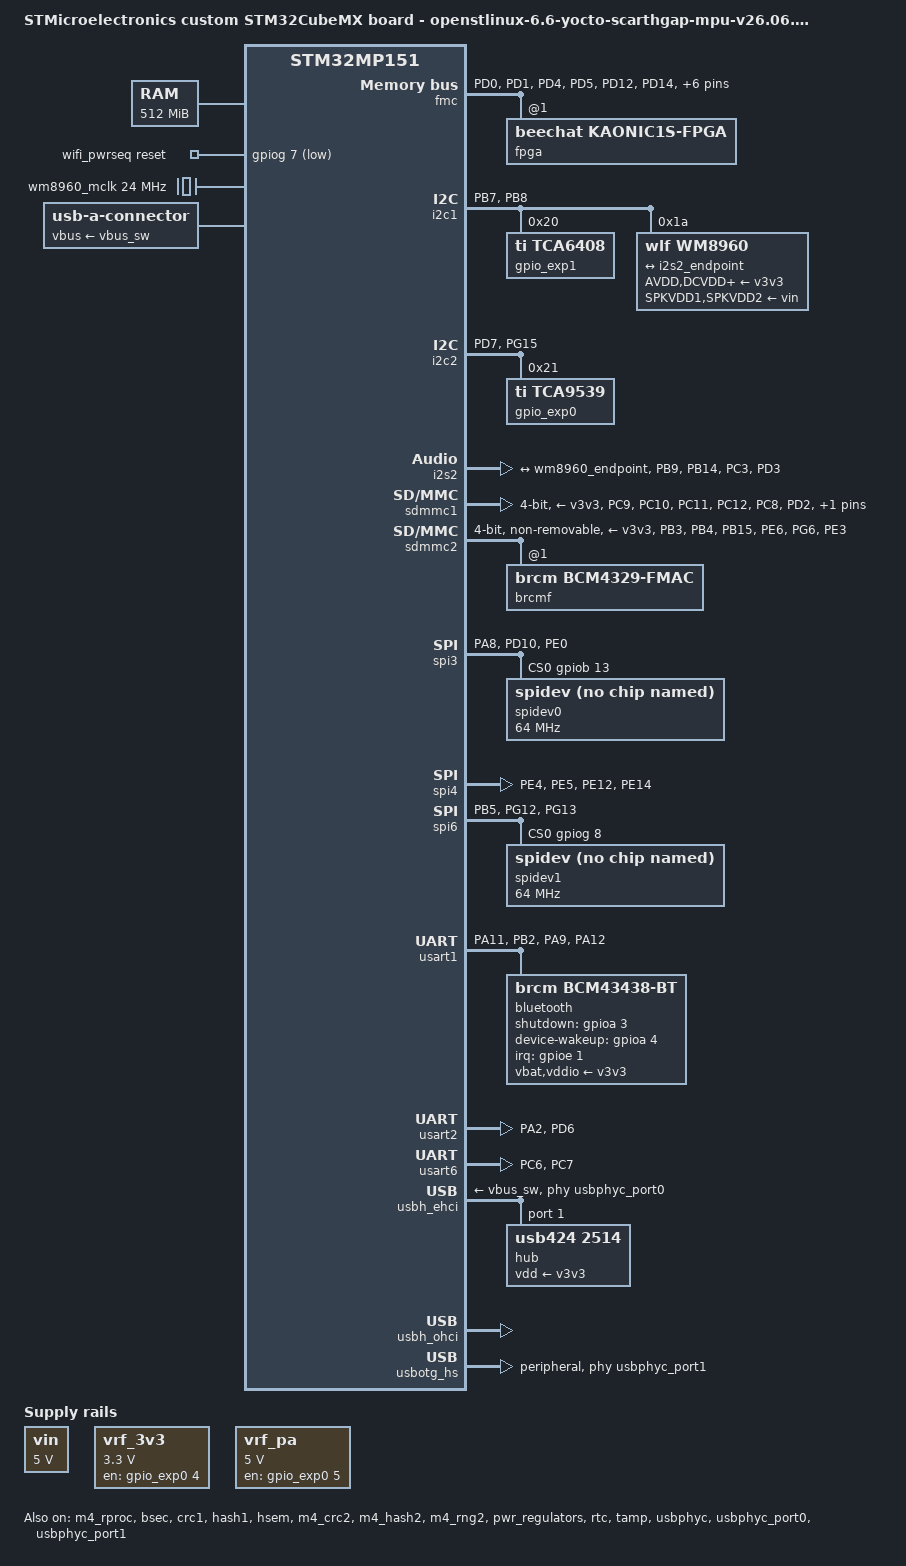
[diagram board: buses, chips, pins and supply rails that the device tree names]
// SPDX-License-Identifier: (GPL-2.0-only OR BSD-3-Clause)
/*
 * Copyright (C) 2026, STMicroelectronics - All Rights Reserved
 * Author: STM32CubeMX code generation for STMicroelectronics.
 */

/* For more information on Device Tree configuration, please refer to
 * https://wiki.st.com/stm32mpu/wiki/Category:Device_tree_configuration
 */

/dts-v1/;

#include <dt-bindings/pinctrl/stm32-pinfunc.h>
#include "stm32mp151.dtsi"
#include "stm32mp15xa.dtsi"
#include "stm32mp15xxab-pinctrl.dtsi"
#include "stm32mp15-m4-srm.dtsi"
#include "stm32mp15-scmi.dtsi"

/* USER CODE BEGIN includes */

#include <dt-bindings/gpio/gpio.h>
#include <dt-bindings/mfd/st,stpmic1.h>
#include <dt-bindings/input/input.h>
#include <dt-bindings/regulator/st,stm32mp15-regulator.h>

/* USER CODE END includes */

/ {
	model = "STMicroelectronics custom STM32CubeMX board - openstlinux-6.6-yocto-scarthgap-mpu-v26.06.10";
	compatible = "st,stm32mp151a-kaonic1s-r24-mx", "st,stm32mp151";

	memory@c0000000 {
		device_type = "memory";
		reg = <0xc0000000 0x20000000>;

		/* USER CODE BEGIN memory */
		/* USER CODE END memory */
	};

	reserved-memory {
		#address-cells = <1>;
		#size-cells = <1>;
		ranges;

		/* USER CODE BEGIN reserved-memory */
		mcuram2:mcuram2@10000000{
			compatible = "shared-dma-pool";
			reg = <0x10000000 0x40000>;
			no-map;
		};

		mcuram:mcuram@30000000{
			compatible = "shared-dma-pool";
			reg = <0x30000000 0x40000>;
			no-map;
		};

		retram:retram@38000000{
			compatible = "shared-dma-pool";
			reg = <0x38000000 0x10000>;
			no-map; };

		optee@de000000 {
			reg = <0xde000000 0x2000000>;
			no-map;
		};

		gpu_reserved: gpu@d4000000 {
			reg = <0xd4000000 0x4000000>;
			no-map;
		};

		linux,cma {
			compatible = "shared-dma-pool";
			reusable;
			size = <0x8000000>;
			alignment = <0x2000>;
			linux,cma-default;
		};


		/* USER CODE END reserved-memory */
	};

	/* USER CODE BEGIN root */

	aliases {
		serial0 = &usart6;
		serial1 = &usart2;
		serial2 = &usart1;
		spi4 = &spi4;
		spi6 = &spi6;
		spi3 = &spi3;
		spi0 = &qspi;
	};

	chosen {
		stdout-path = "serial0:115200n8";
		#address-cells = <1>;
		#size-cells = <1>;
		ranges;
	};

	vin: vin {
		compatible = "regulator-fixed";
		regulator-name = "vin";
		regulator-min-microvolt = <5000000>;
		regulator-max-microvolt = <5000000>;
		regulator-always-on;
	};

	vrf_3v3: vrf-3v3 {
		compatible = "regulator-fixed";
		regulator-name = "VRF 3v3";
		regulator-min-microvolt = <3300000>;
		regulator-max-microvolt = <3300000>;
		regulator-always-on;
		regulator-boot-on;
		gpio = <&gpio_exp0 4 GPIO_ACTIVE_HIGH>;
		enable-active-high;
	};

	vrf_pa: vrf-pa {
		compatible = "regulator-fixed";
		regulator-name = "VRF PA";
		regulator-min-microvolt = <5000000>;
		regulator-max-microvolt = <5000000>;
		regulator-always-on;
		regulator-boot-on;
		gpio = <&gpio_exp0 5 GPIO_ACTIVE_HIGH>;
		enable-active-high;
	};

	wifi_pwrseq: wifi-pwrseq {
		compatible = "mmc-pwrseq-simple";
		reset-gpios = <&gpiog 7 GPIO_ACTIVE_LOW>;
	};

	usb_phy_tuning: usb-phy-tuning {
		st,hs-dc-level = <2>;
		st,fs-rftime-tuning;
		st,hs-rftime-reduction;
		st,hs-current-trim = <15>;
		st,hs-impedance-trim = <1>;
		st,squelch-level = <3>;
		st,hs-rx-offset = <2>;
		st,no-lsfs-sc;
	};

	wm8960_mclk: wm8960-mclk {
		compatible = "fixed-clock";
		#clock-cells = <0>;
		clock-frequency = <24000000>;
	};

	sound {

		compatible = "simple-audio-card";
		simple-audio-card,name = "Kaonic WM8960 Audio";
		simple-audio-card,format = "i2s";
		simple-audio-card,bitclock-master = <&cpu_dai>;
		simple-audio-card,frame-master = <&cpu_dai>;
		status = "okay";

		simple-audio-card,widgets =
			"Microphone", "Mic Jack",
			"Speaker", "Ext Spk";
		simple-audio-card,routing =
			"Mic Jack", "MICB",
			"LINPUT2", "Mic Jack",
			"Ext Spk", "SPK_LP",
			"Ext Spk", "SPK_LN";
		cpu_dai: simple-audio-card,cpu {
			sound-dai = <&i2s2>;
		};
		codec_dai: simple-audio-card,codec {
			sound-dai = <&wm8960>;
			system-clock-frequency = <24000000>;
		};

	};

	/* USER CODE END root */

	clocks{

		/* USER CODE BEGIN clocks */
		/* USER CODE END clocks */
	};

}; /*root*/

&pinctrl {

	fmc_pins_mx: fmc_mx-0 {
		pins1 {
			pinmux = <STM32_PINMUX('D', 0, AF12)>, /* FMC_DA2 */
					 <STM32_PINMUX('D', 1, AF12)>, /* FMC_DA3 */
					 <STM32_PINMUX('D', 4, AF12)>, /* FMC_NOE */
					 <STM32_PINMUX('D', 5, AF12)>, /* FMC_NWE */
					 <STM32_PINMUX('D', 14, AF12)>, /* FMC_DA0 */
					 <STM32_PINMUX('D', 15, AF12)>, /* FMC_DA1 */
					 <STM32_PINMUX('E', 7, AF12)>, /* FMC_DA4 */
					 <STM32_PINMUX('E', 8, AF12)>, /* FMC_DA5 */
					 <STM32_PINMUX('E', 9, AF12)>, /* FMC_DA6 */
					 <STM32_PINMUX('E', 10, AF12)>; /* FMC_DA7 */
			bias-disable;
			drive-push-pull;
			slew-rate = <1>;
		};
		pins2 {
			pinmux = <STM32_PINMUX('G', 9, AF12)>; /* FMC_NE2 */
		};
	};

	fmc_sleep_pins_mx: fmc_sleep_mx-0 {
		pins {
			pinmux = <STM32_PINMUX('D', 0, ANALOG)>, /* FMC_DA2 */
					 <STM32_PINMUX('D', 1, ANALOG)>, /* FMC_DA3 */
					 <STM32_PINMUX('D', 4, ANALOG)>, /* FMC_NOE */
					 <STM32_PINMUX('D', 5, ANALOG)>, /* FMC_NWE */
					 <STM32_PINMUX('D', 14, ANALOG)>, /* FMC_DA0 */
					 <STM32_PINMUX('D', 15, ANALOG)>, /* FMC_DA1 */
					 <STM32_PINMUX('E', 7, ANALOG)>, /* FMC_DA4 */
					 <STM32_PINMUX('E', 8, ANALOG)>, /* FMC_DA5 */
					 <STM32_PINMUX('E', 9, ANALOG)>, /* FMC_DA6 */
					 <STM32_PINMUX('E', 10, ANALOG)>, /* FMC_DA7 */
					 <STM32_PINMUX('G', 9, ANALOG)>; /* FMC_NE2 */
		};
	};

	i2c1_pins_mx: i2c1_mx-0 {
		pins {
			pinmux = <STM32_PINMUX('B', 7, AF4)>, /* I2C1_SDA */
					 <STM32_PINMUX('B', 8, AF4)>; /* I2C1_SCL */
			bias-disable;
			drive-open-drain;
			slew-rate = <0>;
		};
	};

	i2c1_sleep_pins_mx: i2c1_sleep_mx-0 {
		pins {
			pinmux = <STM32_PINMUX('B', 7, ANALOG)>, /* I2C1_SDA */
					 <STM32_PINMUX('B', 8, ANALOG)>; /* I2C1_SCL */
		};
	};

	i2c2_pins_mx: i2c2_mx-0 {
		pins {
			pinmux = <STM32_PINMUX('D', 7, AF4)>, /* I2C2_SCL */
					 <STM32_PINMUX('G', 15, AF4)>; /* I2C2_SDA */
			bias-disable;
			drive-open-drain;
			slew-rate = <0>;
		};
	};

	i2c2_sleep_pins_mx: i2c2_sleep_mx-0 {
		pins {
			pinmux = <STM32_PINMUX('D', 7, ANALOG)>, /* I2C2_SCL */
					 <STM32_PINMUX('G', 15, ANALOG)>; /* I2C2_SDA */
		};
	};

	i2s2_pins_mx: i2s2_mx-0 {
		pins {
			pinmux = <STM32_PINMUX('B', 9, AF5)>, /* I2S2_WS */
					 <STM32_PINMUX('B', 14, AF5)>, /* I2S2_SDI */
					 <STM32_PINMUX('C', 3, AF5)>, /* I2S2_SDO */
					 <STM32_PINMUX('D', 3, AF5)>; /* I2S2_CK */
			bias-disable;
			drive-push-pull;
			slew-rate = <1>;
		};
	};

	i2s2_sleep_pins_mx: i2s2_sleep_mx-0 {
		pins {
			pinmux = <STM32_PINMUX('B', 9, ANALOG)>, /* I2S2_WS */
					 <STM32_PINMUX('B', 14, ANALOG)>, /* I2S2_SDI */
					 <STM32_PINMUX('C', 3, ANALOG)>, /* I2S2_SDO */
					 <STM32_PINMUX('D', 3, ANALOG)>; /* I2S2_CK */
		};
	};

	sdmmc1_pins_mx: sdmmc1_mx-0 {
		pins1 {
			pinmux = <STM32_PINMUX('C', 9, AF12)>, /* SDMMC1_D1 */
					 <STM32_PINMUX('C', 10, AF12)>, /* SDMMC1_D2 */
					 <STM32_PINMUX('C', 11, AF12)>; /* SDMMC1_D3 */
			bias-disable;
			drive-push-pull;
			slew-rate = <1>;
		};
		pins2 {
			pinmux = <STM32_PINMUX('C', 12, AF12)>; /* SDMMC1_CK */
			bias-pull-up;
			drive-push-pull;
			slew-rate = <3>;
		};
		pins3 {
			pinmux = <STM32_PINMUX('C', 8, AF12)>, /* SDMMC1_D0 */
					 <STM32_PINMUX('D', 2, AF12)>; /* SDMMC1_CMD */
			bias-pull-up;
			drive-push-pull;
			slew-rate = <1>;
		};
	};

	sdmmc1_opendrain_pins_mx: sdmmc1_opendrain_mx-0 {
		pins1 {
			pinmux = <STM32_PINMUX('C', 9, AF12)>, /* SDMMC1_D1 */
					 <STM32_PINMUX('C', 10, AF12)>, /* SDMMC1_D2 */
					 <STM32_PINMUX('C', 11, AF12)>; /* SDMMC1_D3 */
			bias-disable;
			drive-push-pull;
			slew-rate = <1>;
		};
		pins2 {
			pinmux = <STM32_PINMUX('C', 12, AF12)>; /* SDMMC1_CK */
			bias-pull-up;
			drive-push-pull;
			slew-rate = <3>;
		};
		pins3 {
			pinmux = <STM32_PINMUX('C', 8, AF12)>; /* SDMMC1_D0 */
			bias-pull-up;
			drive-push-pull;
			slew-rate = <1>;
		};
		pins4 {
			pinmux = <STM32_PINMUX('D', 2, AF12)>; /* SDMMC1_CMD */
			bias-pull-up;
			drive-open-drain;
			slew-rate = <1>;
		};
	};

	sdmmc1_sleep_pins_mx: sdmmc1_sleep_mx-0 {
		pins {
			pinmux = <STM32_PINMUX('C', 8, ANALOG)>, /* SDMMC1_D0 */
					 <STM32_PINMUX('C', 9, ANALOG)>, /* SDMMC1_D1 */
					 <STM32_PINMUX('C', 10, ANALOG)>, /* SDMMC1_D2 */
					 <STM32_PINMUX('C', 11, ANALOG)>, /* SDMMC1_D3 */
					 <STM32_PINMUX('C', 12, ANALOG)>, /* SDMMC1_CK */
					 <STM32_PINMUX('D', 2, ANALOG)>; /* SDMMC1_CMD */
		};
	};

	sdmmc2_pins_mx: sdmmc2_mx-0 {
		pins1 {
			pinmux = <STM32_PINMUX('B', 3, AF9)>, /* SDMMC2_D2 */
					 <STM32_PINMUX('B', 4, AF9)>, /* SDMMC2_D3 */
					 <STM32_PINMUX('B', 15, AF9)>, /* SDMMC2_D1 */
					 <STM32_PINMUX('E', 6, AF7)>, /* SDMMC2_D0 */
					 <STM32_PINMUX('G', 6, AF10)>; /* SDMMC2_CMD */
			bias-pull-up;
			drive-push-pull;
			slew-rate = <1>;
		};
		pins2 {
			pinmux = <STM32_PINMUX('E', 3, AF9)>; /* SDMMC2_CK */
			bias-disable;
			drive-push-pull;
			slew-rate = <3>;
		};
	};

	sdmmc2_opendrain_pins_mx: sdmmc2_opendrain_mx-0 {
		pins1 {
			pinmux = <STM32_PINMUX('B', 3, AF9)>, /* SDMMC2_D2 */
					 <STM32_PINMUX('B', 4, AF9)>, /* SDMMC2_D3 */
					 <STM32_PINMUX('B', 15, AF9)>, /* SDMMC2_D1 */
					 <STM32_PINMUX('E', 6, AF7)>; /* SDMMC2_D0 */
			bias-pull-up;
			drive-push-pull;
			slew-rate = <1>;
		};
		pins2 {
			pinmux = <STM32_PINMUX('E', 3, AF9)>; /* SDMMC2_CK */
			bias-disable;
			drive-push-pull;
			slew-rate = <3>;
		};
		pins3 {
			pinmux = <STM32_PINMUX('G', 6, AF10)>; /* SDMMC2_CMD */
			bias-pull-up;
			drive-open-drain;
			slew-rate = <1>;
		};
	};

	sdmmc2_sleep_pins_mx: sdmmc2_sleep_mx-0 {
		pins {
			pinmux = <STM32_PINMUX('B', 3, ANALOG)>, /* SDMMC2_D2 */
					 <STM32_PINMUX('B', 4, ANALOG)>, /* SDMMC2_D3 */
					 <STM32_PINMUX('B', 15, ANALOG)>, /* SDMMC2_D1 */
					 <STM32_PINMUX('E', 3, ANALOG)>, /* SDMMC2_CK */
					 <STM32_PINMUX('E', 6, ANALOG)>, /* SDMMC2_D0 */
					 <STM32_PINMUX('G', 6, ANALOG)>; /* SDMMC2_CMD */
		};
	};

	spi3_pins_mx: spi3_mx-0 {
		pins {
			pinmux = <STM32_PINMUX('A', 8, AF5)>, /* SPI3_MOSI */
					 <STM32_PINMUX('D', 10, AF5)>, /* SPI3_MISO */
					 <STM32_PINMUX('E', 0, AF5)>; /* SPI3_SCK */
			bias-disable;
			drive-push-pull;
			slew-rate = <3>;
		};
	};

	spi3_sleep_pins_mx: spi3_sleep_mx-0 {
		pins {
			pinmux = <STM32_PINMUX('A', 8, ANALOG)>, /* SPI3_MOSI */
					 <STM32_PINMUX('D', 10, ANALOG)>, /* SPI3_MISO */
					 <STM32_PINMUX('E', 0, ANALOG)>; /* SPI3_SCK */
		};
	};

	spi4_pins_mx: spi4_mx-0 {
		pins {
			pinmux = <STM32_PINMUX('E', 4, AF5)>, /* SPI4_NSS */
					 <STM32_PINMUX('E', 5, AF5)>, /* SPI4_MISO */
					 <STM32_PINMUX('E', 12, AF5)>, /* SPI4_SCK */
					 <STM32_PINMUX('E', 14, AF5)>; /* SPI4_MOSI */
			bias-disable;
			drive-push-pull;
			slew-rate = <3>;
		};
	};

	spi4_sleep_pins_mx: spi4_sleep_mx-0 {
		pins {
			pinmux = <STM32_PINMUX('E', 4, ANALOG)>, /* SPI4_NSS */
					 <STM32_PINMUX('E', 5, ANALOG)>, /* SPI4_MISO */
					 <STM32_PINMUX('E', 12, ANALOG)>, /* SPI4_SCK */
					 <STM32_PINMUX('E', 14, ANALOG)>; /* SPI4_MOSI */
		};
	};

	spi6_pins_mx: spi6_mx-0 {
		pins {
			pinmux = <STM32_PINMUX('B', 5, AF8)>, /* SPI6_MOSI */
					 <STM32_PINMUX('G', 12, AF5)>, /* SPI6_MISO */
					 <STM32_PINMUX('G', 13, AF5)>; /* SPI6_SCK */
			bias-disable;
			drive-push-pull;
			slew-rate = <3>;
		};
	};

	spi6_sleep_pins_mx: spi6_sleep_mx-0 {
		pins {
			pinmux = <STM32_PINMUX('B', 5, ANALOG)>, /* SPI6_MOSI */
					 <STM32_PINMUX('G', 12, ANALOG)>, /* SPI6_MISO */
					 <STM32_PINMUX('G', 13, ANALOG)>; /* SPI6_SCK */
		};
	};

	usart1_pins_mx: usart1_mx-0 {
		pins1 {
			pinmux = <STM32_PINMUX('A', 11, AF7)>, /* USART1_CTS */
					 <STM32_PINMUX('B', 2, AF4)>; /* USART1_RX */
			bias-disable;
		};
		pins2 {
			pinmux = <STM32_PINMUX('A', 9, AF7)>, /* USART1_TX */
					 <STM32_PINMUX('A', 12, AF7)>; /* USART1_RTS */
			bias-disable;
			drive-push-pull;
			slew-rate = <0>;
		};
	};

	usart1_idle_pins_mx: usart1_idle_mx-0 {
		pins1 {
			pinmux = <STM32_PINMUX('A', 9, ANALOG)>, /* USART1_TX */
					 <STM32_PINMUX('A', 11, ANALOG)>; /* USART1_CTS */
		};
		pins2 {
			pinmux = <STM32_PINMUX('A', 12, AF7)>; /* USART1_RTS */
			bias-disable;
			drive-push-pull;
			slew-rate = <0>;
		};
		pins3 {
			pinmux = <STM32_PINMUX('B', 2, AF4)>; /* USART1_RX */
			bias-disable;
		};
	};

	usart1_sleep_pins_mx: usart1_sleep_mx-0 {
		pins {
			pinmux = <STM32_PINMUX('A', 9, ANALOG)>, /* USART1_TX */
					 <STM32_PINMUX('A', 11, ANALOG)>, /* USART1_CTS */
					 <STM32_PINMUX('A', 12, ANALOG)>, /* USART1_RTS */
					 <STM32_PINMUX('B', 2, ANALOG)>; /* USART1_RX */
		};
	};

	usart2_pins_mx: usart2_mx-0 {
		pins1 {
			pinmux = <STM32_PINMUX('A', 2, AF7)>; /* USART2_TX */
			bias-disable;
			drive-push-pull;
			slew-rate = <0>;
		};
		pins2 {
			pinmux = <STM32_PINMUX('D', 6, AF7)>; /* USART2_RX */
			bias-disable;
		};
	};

	usart2_idle_pins_mx: usart2_idle_mx-0 {
		pins1 {
			pinmux = <STM32_PINMUX('A', 2, ANALOG)>; /* USART2_TX */
		};
		pins2 {
			pinmux = <STM32_PINMUX('D', 6, AF7)>; /* USART2_RX */
			bias-disable;
		};
	};

	usart2_sleep_pins_mx: usart2_sleep_mx-0 {
		pins {
			pinmux = <STM32_PINMUX('A', 2, ANALOG)>, /* USART2_TX */
					 <STM32_PINMUX('D', 6, ANALOG)>; /* USART2_RX */
		};
	};

	usart6_pins_mx: usart6_mx-0 {
		pins1 {
			pinmux = <STM32_PINMUX('C', 6, AF7)>; /* USART6_TX */
			bias-disable;
			drive-push-pull;
			slew-rate = <0>;
		};
		pins2 {
			pinmux = <STM32_PINMUX('C', 7, AF7)>; /* USART6_RX */
			bias-disable;
		};
	};

	usart6_idle_pins_mx: usart6_idle_mx-0 {
		pins1 {
			pinmux = <STM32_PINMUX('C', 6, ANALOG)>; /* USART6_TX */
		};
		pins2 {
			pinmux = <STM32_PINMUX('C', 7, AF7)>; /* USART6_RX */
			bias-disable;
		};
	};

	usart6_sleep_pins_mx: usart6_sleep_mx-0 {
		pins {
			pinmux = <STM32_PINMUX('C', 6, ANALOG)>, /* USART6_TX */
					 <STM32_PINMUX('C', 7, ANALOG)>; /* USART6_RX */
		};
	};

	/* USER CODE BEGIN pinctrl */

	fmc_fpga_pins_mx: fmc_fpga_mx-0 {
		pins1 {
			pinmux = <STM32_PINMUX('D', 0, AF12)>, /* FMC_D2 */
					 <STM32_PINMUX('D', 1, AF12)>, /* FMC_D3 */
					 <STM32_PINMUX('D', 4, AF12)>, /* FMC_NOE */
					 <STM32_PINMUX('D', 5, AF12)>, /* FMC_NWE */
					 <STM32_PINMUX('D', 12, AF12)>, /* FMC_A17 */
					 <STM32_PINMUX('D', 14, AF12)>, /* FMC_D0 */
					 <STM32_PINMUX('D', 15, AF12)>, /* FMC_D1 */
					 <STM32_PINMUX('E', 7, AF12)>, /* FMC_D4 */
					 <STM32_PINMUX('E', 8, AF12)>, /* FMC_D5 */
					 <STM32_PINMUX('E', 9, AF12)>, /* FMC_D6 */
					 <STM32_PINMUX('E', 10, AF12)>; /* FMC_D7 */
			bias-disable;
			drive-push-pull;
			slew-rate = <1>;
		};
		pins2 {
			pinmux = <STM32_PINMUX('G', 9, AF12)>; /* FMC_NE2 */
		};
	};

	fmc_fpga_sleep_pins_mx: fmc_fpga_sleep_mx-0 {
		pins {
			pinmux = <STM32_PINMUX('D', 0, ANALOG)>, /* FMC_D2 */
					 <STM32_PINMUX('D', 1, ANALOG)>, /* FMC_D3 */
					 <STM32_PINMUX('D', 4, ANALOG)>, /* FMC_NOE */
					 <STM32_PINMUX('D', 5, ANALOG)>, /* FMC_NWE */
					 <STM32_PINMUX('D', 12, ANALOG)>, /* FMC_A17 */
					 <STM32_PINMUX('D', 14, ANALOG)>, /* FMC_D0 */
					 <STM32_PINMUX('D', 15, ANALOG)>, /* FMC_D1 */
					 <STM32_PINMUX('E', 7, ANALOG)>, /* FMC_D4 */
					 <STM32_PINMUX('E', 8, ANALOG)>, /* FMC_D5 */
					 <STM32_PINMUX('E', 9, ANALOG)>, /* FMC_D6 */
					 <STM32_PINMUX('E', 10, ANALOG)>, /* FMC_D7 */
					 <STM32_PINMUX('G', 9, ANALOG)>; /* FMC_NE2 */
		};
	};

	i2c4_pins_mx: i2c4_mx-0 {
		pins {
			pinmux = <STM32_PINMUX('D', 13, AF4)>, /* I2C4_SDA */
					 <STM32_PINMUX('E', 2, AF4)>; /* I2C4_SCL */
			bias-disable;
			drive-open-drain;
			slew-rate = <0>;
		};
	};

	i2c4_sleep_pins_mx: i2c4_sleep_mx-0 {
		pins {
			pinmux = <STM32_PINMUX('D', 13, ANALOG)>, /* I2C4_SDA */
					 <STM32_PINMUX('E', 2, ANALOG)>; /* I2C4_SCL */
		};
	};
	/* USER CODE END pinctrl */
};

&pinctrl_z {

	/* USER CODE BEGIN pinctrl_z */
	/* USER CODE END pinctrl_z */
};

&m4_rproc{
	/*Restriction: "memory-region" property is not managed - please to use User-Section if needed*/
	mboxes = <&ipcc 2>;
	mbox-names = "shutdown";
	status = "okay";

	/* USER CODE BEGIN m4_rproc */
	/* USER CODE END m4_rproc */

	m4_system_resources{
		status = "okay";

		/* USER CODE BEGIN m4_system_resources */
		/* USER CODE END m4_system_resources */
	};
};

&bsec {
	status = "okay";

	/* USER CODE BEGIN bsec */

	/* USER CODE END bsec */
};

&crc1 {
	status = "okay";

	/* USER CODE BEGIN crc1 */
	/* USER CODE END crc1 */
};

&dma1 {
	status = "okay";

	/* USER CODE BEGIN dma1 */
	/* USER CODE END dma1 */
};

&dma2 {
	status = "okay";

	/* USER CODE BEGIN dma2 */
	/* USER CODE END dma2 */
};

&dmamux1 {
	status = "okay";

	dma-masters = <&dma1 &dma2>;
	dma-channels = <16>;

	/* USER CODE BEGIN dmamux1 */
	/* USER CODE END dmamux1 */
};

&fmc {
	pinctrl-names = "default", "sleep";
	pinctrl-0 = <&fmc_pins_mx>;
	pinctrl-1 = <&fmc_sleep_pins_mx>;
	status = "okay";

	/* USER CODE BEGIN fmc */
	/* Override the CubeMX pin groups: FMC_A17 (PD12) is required to reach
	 * the FPGA DATA port and is not part of fmc_pins_mx.
	 */
	pinctrl-0 = <&fmc_fpga_pins_mx>;
	pinctrl-1 = <&fmc_fpga_sleep_pins_mx>;

	#address-cells = <2>;
	#size-cells = <1>;

	fpga@1,0 {
		compatible = "beechat,kaonic1s-fpga";
		reg = <1 0x00000000 0x00040000>;
		bank-width = <1>;

		st,fmc2-ebi-cs-transaction-type = <1>; /* async mode 1, PSRAM */
		st,fmc2-ebi-cs-address-setup-ns = <30>;
		st,fmc2-ebi-cs-data-setup-ns = <40>;
		st,fmc2-ebi-cs-bus-turnaround-ns = <15>;
	};
	/* USER CODE END fmc */
};

&hash1 {
	status = "okay";

	/* USER CODE BEGIN hash1 */
	/* USER CODE END hash1 */
};

&hsem {
	status = "okay";

	/* USER CODE BEGIN hsem */
	/* USER CODE END hsem */
};

&i2c1 {
	pinctrl-names = "default", "sleep";
	pinctrl-0 = <&i2c1_pins_mx>;
	pinctrl-1 = <&i2c1_sleep_pins_mx>;
	status = "okay";

	/* USER CODE BEGIN i2c1 */
	gpio_exp1: gpio@20 {
		compatible = "ti,tca6408";
		reg = <0x20>;

		#gpio-cells = <2>;
		gpio-controller;
		status = "okay";
	};


	wm8960: codec@1a {
		compatible = "wlf,wm8960";
		reg = <0x1a>;
		#sound-dai-cells = <0>;
		clocks = <&wm8960_mclk>;
		clock-names = "mclk";
		/* ADCLRC/GPIO1 and DACLRC are tied together on the adapter */
		wlf,shared-lrclk;
		wlf,gpio-cfg = <1 0>;
		AVDD-supply = <&v3v3>;
		DCVDD-supply = <&v3v3>;
		DBVDD-supply = <&v3v3>;
		/* SPKVDD1/SPKVDD2 are fed from the +5V rail of the Kaonic connector */
		SPKVDD1-supply = <&vin>;
		SPKVDD2-supply = <&vin>;

		port {
			wm8960_endpoint: endpoint {
				remote-endpoint = <&i2s2_endpoint>;
			};
		};
	};
	/* USER CODE END i2c1 */
};

&i2c2 {
	pinctrl-names = "default", "sleep";
	pinctrl-0 = <&i2c2_pins_mx>;
	pinctrl-1 = <&i2c2_sleep_pins_mx>;
	status = "okay";

	/* USER CODE BEGIN i2c2 */

	gpio_exp0: gpio@21 {
		compatible = "ti,tca9539";
		reg = <0x21>;

		#gpio-cells = <2>;
		gpio-controller;
		status = "okay";
	};

	/* USER CODE END i2c2 */
};

&i2s2 {
	pinctrl-names = "default", "sleep";
	pinctrl-0 = <&i2s2_pins_mx>;
	pinctrl-1 = <&i2s2_sleep_pins_mx>;
	status = "okay";

	/* USER CODE BEGIN i2s2 */
	clocks = <&rcc SPI2>, <&rcc SPI2_K>, <&rcc PLL3_Q>, <&rcc PLL3_R>;
	clock-names = "pclk", "i2sclk", "x8k", "x11k";

	i2s2_port: port {
		i2s2_endpoint: endpoint {
			remote-endpoint = <&wm8960_endpoint>;
			format = "i2s";
			mclk-fs = <256>;
		};
	};

	/* USER CODE END i2s2 */
};

&ipcc {
	status = "okay";

	/* USER CODE BEGIN ipcc */
	/* USER CODE END ipcc */
};

&m4_crc2 {
	status = "okay";

	/* USER CODE BEGIN m4_crc2 */
	/* USER CODE END m4_crc2 */
};

&m4_hash2 {
	status = "okay";

	/* USER CODE BEGIN m4_hash2 */
	/* USER CODE END m4_hash2 */
};

&m4_rng2 {
	status = "okay";

	/* USER CODE BEGIN m4_rng2 */
	/* USER CODE END m4_rng2 */
};

&mdma1 {
	status = "okay";

	/* USER CODE BEGIN mdma1 */
	/* USER CODE END mdma1 */
};

&pwr_regulators {
	status = "okay";

	/* USER CODE BEGIN pwr_regulators */
	vdd-supply = <&vdd>;
	vdd_3v3_usbfs-supply = <&vdd_usb>;
	/* USER CODE END pwr_regulators */
};

&rcc {
	status = "okay";

	/* USER CODE BEGIN rcc */
	/* USER CODE END rcc */
};

&rtc {
	status = "okay";

	/* USER CODE BEGIN rtc */
	/* USER CODE END rtc */
};

&sdmmc1 {
	pinctrl-names = "default", "opendrain", "sleep";
	pinctrl-0 = <&sdmmc1_pins_mx>;
	pinctrl-1 = <&sdmmc1_opendrain_pins_mx>;
	pinctrl-2 = <&sdmmc1_sleep_pins_mx>;
	status = "okay";

	/* USER CODE BEGIN sdmmc1 */
	cd-gpios = <&gpiog 14 (GPIO_ACTIVE_LOW | GPIO_PULL_UP)>;

	disable-wp;
	st,neg-edge;
	bus-width = <4>;
	vmmc-supply = <&v3v3>;
	/* USER CODE END sdmmc1 */
};

&sdmmc2 {
	pinctrl-names = "default", "opendrain", "sleep";
	pinctrl-0 = <&sdmmc2_pins_mx>;
	pinctrl-1 = <&sdmmc2_opendrain_pins_mx>;
	pinctrl-2 = <&sdmmc2_sleep_pins_mx>;
	status = "okay";

	/* USER CODE BEGIN sdmmc2 */
	#address-cells = <1>;
	#size-cells = <0>;

	/* arm,primecell-periphid = <0x10153180>; */
	non-removable;
	st,neg-edge;
	cap-sdio-irq;
	bus-width = <4>;
	vmmc-supply = <&v3v3>;
	mmc-pwrseq = <&wifi_pwrseq>;

	brcmf: bcrmf@1 {
		reg = <1>;
		compatible = "brcm,bcm4329-fmac";
	};
	/* USER CODE END sdmmc2 */
};

&spi3 {
	pinctrl-names = "default", "sleep";
	pinctrl-0 = <&spi3_pins_mx>;
	pinctrl-1 = <&spi3_sleep_pins_mx>;
	status = "okay";

	/* USER CODE BEGIN spi3 */

	cs-gpios= <&gpiob 13 0>;

	spidev0: spidev0@0 {
		compatible = "rohm,dh2228fv";
        reg = <0>;
        spi-max-frequency = <64000000>;
        status = "okay";
    };
	/* USER CODE END spi3 */
};

&spi4 {
	pinctrl-names = "default", "sleep";
	pinctrl-0 = <&spi4_pins_mx>;
	pinctrl-1 = <&spi4_sleep_pins_mx>;
	status = "okay";

	/* USER CODE BEGIN spi4 */
	/* USER CODE END spi4 */
};

&spi6 {
	pinctrl-names = "default", "sleep";
	pinctrl-0 = <&spi6_pins_mx>;
	pinctrl-1 = <&spi6_sleep_pins_mx>;
	status = "okay";

	/* USER CODE BEGIN spi6 */
	cs-gpios= <&gpiog 8 0>;
	spidev1: spidev1@0 {
		compatible = "rohm,dh2228fv";
        reg = <0>;
        spi-max-frequency = <64000000>;
        status = "okay";
    };
	/* USER CODE END spi6 */
};

&tamp {
	status = "okay";

	/* USER CODE BEGIN tamp */
	/* USER CODE END tamp */
};

&usart1 {
	pinctrl-names = "default", "idle", "sleep";
	pinctrl-0 = <&usart1_pins_mx>;
	pinctrl-1 = <&usart1_idle_pins_mx>;
	pinctrl-2 = <&usart1_sleep_pins_mx>;
	status = "okay";

	/* USER CODE BEGIN usart1 */
	uart-has-rtscts;

	bluetooth {
		shutdown-gpios = <&gpioa 3 GPIO_ACTIVE_HIGH>;
		device-wakeup-gpios = <&gpioa 4 GPIO_ACTIVE_HIGH>;
		interrupts-extended = <&gpioe 1 IRQ_TYPE_EDGE_FALLING>;
		interrupt-names = "host-wakeup";
		compatible = "brcm,bcm43438-bt";
		vbat-supply = <&v3v3>;
		vddio-supply = <&v3v3>;
	};
	/* USER CODE END usart1 */
};

&usart2 {
	pinctrl-names = "default", "idle", "sleep";
	pinctrl-0 = <&usart2_pins_mx>;
	pinctrl-1 = <&usart2_idle_pins_mx>;
	pinctrl-2 = <&usart2_sleep_pins_mx>;
	status = "okay";

	/* USER CODE BEGIN usart2 */
	/* USER CODE END usart2 */
};

&usart6 {
	pinctrl-names = "default", "idle", "sleep";
	pinctrl-0 = <&usart6_pins_mx>;
	pinctrl-1 = <&usart6_idle_pins_mx>;
	pinctrl-2 = <&usart6_sleep_pins_mx>;
	status = "okay";

	/* USER CODE BEGIN usart6 */
	/delete-property/dmas;
	/delete-property/dma-names;
	u-boot,dm-pre-reloc;
	/* USER CODE END usart6 */
};

&usbh_ehci {
	status = "okay";

	/* USER CODE BEGIN usbh_ehci */
	phys = <&usbphyc_port0>;
	phy-names = "usb";

	vbus-supply = <&vbus_sw>;

	#address-cells = <1>;
	#size-cells = <0>;

	hub@1{
		compatible = "usb424,2514";
		reg = <1>;
		vdd-supply = <&v3v3>;
	};
	/* USER CODE END usbh_ehci */
};

&usbh_ohci {
	status = "okay";

	/* USER CODE BEGIN usbh_ohci */
	/* USER CODE END usbh_ohci */
};

&usbotg_hs {
	status = "okay";

	/* USER CODE BEGIN usbotg_hs */
	phys = <&usbphyc_port1 0>;
	phy-names = "usb2-phy";

	/* usb-role-switch; */
	dr_mode = "peripheral";

	u-boot,force-b-session-valid;

	/* USER CODE END usbotg_hs */
};

&usbphyc {
	status = "okay";

	/* USER CODE BEGIN usbphyc */
	vdd3v3-supply = <&vdd_usb>;
	/* USER CODE END usbphyc */
};

&usbphyc_port0 {
	status = "okay";

	/* USER CODE BEGIN usbphyc_port0 */
	st,tune-hs-dc-level = <2>;
	st,enable-fs-rftime-tuning;
	st,enable-hs-rftime-reduction;
	st,trim-hs-current = <15>;
	st,trim-hs-impedance = <1>;
	st,tune-squelch-level = <3>;
	st,tune-hs-rx-offset = <2>;
	st,no-lsfs-sc;

	st,phy-tuning = <&usb_phy_tuning>;

	phy-supply = <&vdd_usb>;
    vbus-supply = <&vbus_sw>;

	connector {
		compatible = "usb-a-connector";
		vbus-supply = <&vbus_sw>;
	};
	/* USER CODE END usbphyc_port0 */
};

&usbphyc_port1 {
	status = "okay";

	/* USER CODE BEGIN usbphyc_port1 */
    phy-supply = <&vdd_usb>;
	st,tune-hs-dc-level = <2>;
	st,enable-fs-rftime-tuning;
	st,enable-hs-rftime-reduction;
	st,trim-hs-current = <15>;
	st,trim-hs-impedance = <1>;
	st,tune-squelch-level = <3>;
	st,tune-hs-rx-offset = <2>;
	st,no-lsfs-sc;
	/* USER CODE END usbphyc_port1 */
};

/* USER CODE BEGIN addons */

&cpu0 {
	clocks = <&scmi_clk CK_SCMI_MPU>;
	cpu-supply = <&vddcore>;
};

/*
 * RCC is secure (see the OP-TEE device tree), so the normal world cannot enable
 * these banks itself and must take each one over SCMI. Missing entries show up
 * as pinctrl_select_state_full ... err=-19 and peripherals that never probe.
 */
&gpioa {
	clocks = <&scmi_clk CK_SCMI_GPIOA>;
};

&gpiob {
	clocks = <&scmi_clk CK_SCMI_GPIOB>;
};

&gpioc {
	clocks = <&scmi_clk CK_SCMI_GPIOC>;
};

&gpiod {
	clocks = <&scmi_clk CK_SCMI_GPIOD>;
};

&gpioe {
	clocks = <&scmi_clk CK_SCMI_GPIOE>;
};

&gpiof {
	clocks = <&scmi_clk CK_SCMI_GPIOF>;
};

&gpiog {
	clocks = <&scmi_clk CK_SCMI_GPIOG>;
};

&gpioh {
	clocks = <&scmi_clk CK_SCMI_GPIOH>;
};

&gpioi {
	clocks = <&scmi_clk CK_SCMI_GPIOI>;
};

&gpioj {
	clocks = <&scmi_clk CK_SCMI_GPIOJ>;
};

&gpiok {
	clocks = <&scmi_clk CK_SCMI_GPIOK>;
};

&gpioz {
	clocks = <&scmi_clk CK_SCMI_GPIOZ>;
};

&hash1 {
	clocks = <&scmi_clk CK_SCMI_HASH1>;
	resets = <&scmi_reset RST_SCMI_HASH1>;
};

&i2c4 {
	clocks = <&scmi_clk CK_SCMI_I2C4>;
	resets = <&scmi_reset RST_SCMI_I2C4>;
};

/*
 * I2C4 is secure (DECPROT_S_RW), so the PMIC belongs to OP-TEE and there is no
 * stpmic node in this device tree to define the regulator labels. Linux reaches
 * the same rails through SCMI voltage domains instead; the labels below are what
 * the consumers in this file (&v3v3, &vdd_usb, &vbus_sw, &vdd, &vddcore) bind to.
 * Rail assignment matches the PMIC node in the OP-TEE device tree.
 */
&scmi {
	scmi_voltd: protocol@17 {
		reg = <0x17>;

		scmi_regu: regulators {
			#address-cells = <1>;
			#size-cells = <0>;

			vddcore: regulator@3 {
				reg = <VOLTD_SCMI_STPMIC1_BUCK1>;
				regulator-name = "vddcore";
			};

			vdd: regulator@5 {
				reg = <VOLTD_SCMI_STPMIC1_BUCK3>;
				regulator-name = "vdd";
			};

			v3v3: regulator@6 {
				reg = <VOLTD_SCMI_STPMIC1_BUCK4>;
				regulator-name = "v3v3";
			};

			vdd_usb: regulator@a {
				reg = <VOLTD_SCMI_STPMIC1_LDO4>;
				regulator-name = "vdd_usb";
			};

			vbus_sw: regulator@10 {
				reg = <VOLTD_SCMI_STPMIC1_PWR_SW2>;
				regulator-name = "vbus_sw";
			};
		};
	};
};

&i2c6 {
	clocks = <&scmi_clk CK_SCMI_I2C6>;
	resets = <&scmi_reset RST_SCMI_I2C6>;
};

&iwdg2 {
	clocks = <&rcc IWDG2>, <&scmi_clk CK_SCMI_LSI>;
};

&m4_rproc {
	resets = <&scmi_reset RST_SCMI_MCU>,
		 <&scmi_reset RST_SCMI_MCU_HOLD_BOOT>;
	reset-names = "mcu_rst", "hold_boot";
	/delete-property/ st,syscfg-holdboot;
};

&mdma1 {
	resets = <&scmi_reset RST_SCMI_MDMA>;
};

&mlahb {
	resets = <&scmi_reset RST_SCMI_MCU>;
};

&rcc {
	compatible = "st,stm32mp1-rcc-secure", "syscon";
	clock-names = "hse", "hsi", "csi", "lse", "lsi";
	clocks = <&scmi_clk CK_SCMI_HSE>,
		 <&scmi_clk CK_SCMI_HSI>,
		 <&scmi_clk CK_SCMI_CSI>,
		 <&scmi_clk CK_SCMI_LSE>,
		 <&scmi_clk CK_SCMI_LSI>;
};

&rng1 {
	clocks = <&scmi_clk CK_SCMI_RNG1>;
	resets = <&scmi_reset RST_SCMI_RNG1>;
};

&rtc {
	clocks = <&scmi_clk CK_SCMI_RTCAPB>, <&scmi_clk CK_SCMI_RTC>;
};

&spi6 {
	clocks = <&scmi_clk CK_SCMI_SPI6>;
	resets = <&scmi_reset RST_SCMI_SPI6>;
};

&usart1 {
	clocks = <&scmi_clk CK_SCMI_USART1>;
};

/* USER CODE END addons */

